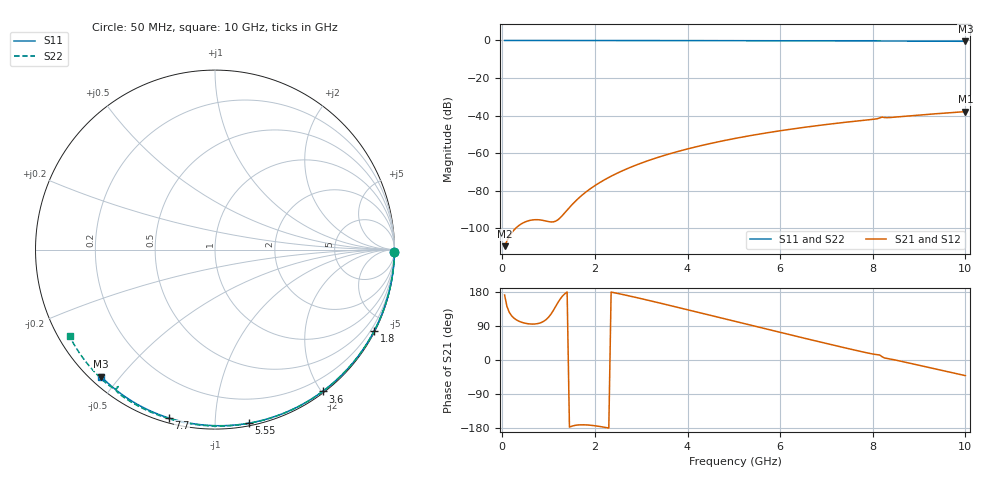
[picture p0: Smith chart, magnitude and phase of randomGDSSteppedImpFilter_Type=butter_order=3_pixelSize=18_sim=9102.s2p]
! freq	dB(S11)	phase(S11)	dB(S12)	phase(S12)
!  dB(S21)	phase(S21)	dB(S22)	phase(S22)
!S-par simulation data
#  GHz  S  DB  R 50
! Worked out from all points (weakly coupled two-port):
!   200 points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, 50 MHz to 10 GHz, reference 50 ohm
!   highest |S21| = -37.87 dB at 10 GHz (marker M1); lowest = -109.4 dB at 50 MHz (marker M2)
!   lowest |S11| = -0.4 dB at 10 GHz (marker M3), VSWR 39.17, Z = 1.53 - j22.3 ohm
!   |S11| at or under -10 dB: nowhere
!   |S22| runs from -0.6 to 0.0 dB; largest |S21 - S12| = 0
!   S11 on the Smith chart (normalised r, x): 50 MHz: open; 1.8 GHz: 0.04, -4.16; 3.6 GHz: 0.02, -2.01; 5.55 GHz: 0.02, -1.22; 7.7 GHz: 0.02, -0.76; 10 GHz: 0.03, -0.45
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0.05  -0.00 -0.8  -109.42 171.4  -109.42 171.4  -0.00 -0.9
0.9  -0.02 -13.6  -95.81 102.5  -95.81 102.5  -0.02 -15.5
1.75  -0.03 -26.3  -81.72 -171.0  -81.72 -171.0  -0.04 -29.8
1.8  -0.03 -27.0  -80.73 -171.2  -80.73 -171.2  -0.04 -30.7
1.85  -0.04 -27.7  -79.79 -171.6  -79.79 -171.6  -0.04 -31.5
2.15  -0.04 -32.1  -74.92 -176.3  -74.92 -176.3  -0.05 -36.5
2.55  -0.05 -37.9  -69.81 174.2  -69.81 174.2  -0.06 -43.0
2.95  -0.06 -43.7  -65.70 163.3  -65.70 163.3  -0.06 -49.5
3.4  -0.07 -50.0  -61.88 150.4  -61.88 150.4  -0.08 -56.7
3.6  -0.07 -52.8  -60.39 144.5  -60.39 144.5  -0.08 -59.8
4.3  -0.09 -62.4  -55.89 123.7  -55.89 123.7  -0.10 -70.6
5.05  -0.11 -72.4  -52.00 101.2  -52.00 101.2  -0.13 -81.8
5.55  -0.13 -78.9  -49.80 86.3  -49.80 86.3  -0.15 -89.0
6.7  -0.18 -93.3  -45.62 52.3  -45.62 52.3  -0.20 -105.2
7.7  -0.24 -105.4  -42.74 23.6  -42.74 23.6  -0.27 -118.9
8.1  -0.27 -110.1  -41.61 14.0  -41.61 14.0  -0.35 -124.9
8.15  -0.27 -110.7  -41.22 13.1  -41.22 13.1  -0.46 -125.8
8.2  -0.28 -111.2  -40.77 8.8  -40.77 8.8  -0.59 -125.2
8.25  -0.28 -111.8  -41.00 5.5  -41.00 5.5  -0.45 -125.3
8.35  -0.29 -113.0  -41.02 3.3  -41.02 3.3  -0.36 -126.9
9.1  -0.35 -121.6  -39.50 -16.7  -39.50 -16.7  -0.40 -137.2
10  -0.44 -131.9  -37.87 -41.3  -37.87 -41.3  -0.51 -149.2
